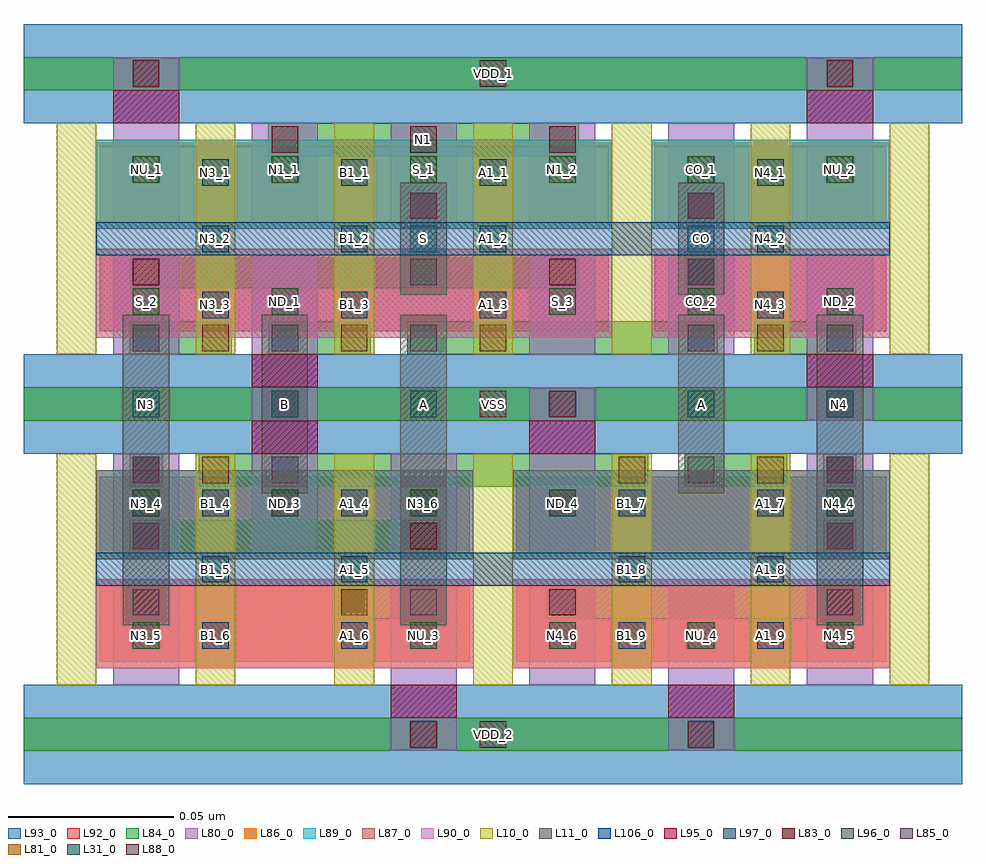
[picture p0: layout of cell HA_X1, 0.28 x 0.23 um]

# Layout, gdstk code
import gdstk
lib = gdstk.Library(unit=1e-6, precision=1e-09)
def R(c, l, rs):  # rectangles x0, y0, x1, y1
    for r in rs: c.add(gdstk.rectangle(r[:2], r[2:], *l))
def A(c, l, x, y, w, h, nx, ny, dx, dy):  # array of equal rectangles
    R(c, l, [(x+i*dx, y+j*dy, x+i*dx+w, y+j*dy+h) for i in range(nx) for j in range(ny)])
L10_0 = (10, 0)
L11_0 = (11, 0)
L31_0 = (31, 0)
L80_0 = (80, 0)
L81_0 = (81, 0)
L83_0 = (83, 0)
L84_0 = (84, 0)
L85_0 = (85, 0)
L86_0 = (86, 0)
L87_0 = (87, 0)
L88_0 = (88, 0)
L89_0 = (89, 0)
L90_0 = (90, 0)
L92_0 = (92, 0)
L93_0 = (93, 0)
L95_0 = (95, 0)
L96_0 = (96, 0)
L97_0 = (97, 0)
L106_0 = (106, 0)

ha_x1 = lib.new_cell('HA_X1')
A(ha_x1, L10_0, -0.027, -0.085, 0.012, 0.07, 7, 2, 0.042, 0.1)
A(ha_x1, L11_0, 0.203, -0.067, 0.014, 0.034, 1, 4, 0, 0.02)
A(ha_x1, L11_0, -0.007, -0.027, 0.014, 0.034, 3, 2, 0.042, 0.02)
R(ha_x1, L11_0, [(-0.007,-0.067,0.007,-0.033), (0.077,-0.067,0.091,-0.033), (-0.007,-0.047,0.007,-0.013), (0.077,-0.047,0.091,-0.013), (0.161,-0.027,0.175,0.007), (0.161,-0.007,0.175,0.027), (0.077,0.033,0.091,0.067), (0.161,0.033,0.175,0.067)])
A(ha_x1, L31_0, -0.004, -0.004, 0.008, 0.008, 3, 1, 0.042, 0)
R(ha_x1, L31_0, [(0.164,-0.004,0.172,0.004), (0.206,-0.004,0.214,0.004), (0.08,0.046,0.088,0.054), (0.164,0.046,0.172,0.054)])
A(ha_x1, L80_0, 0.074, -0.085, 0.02, 0.03, 4, 1, 0.042, 0)
A(ha_x1, L80_0, -0.01, -0.045, 0.02, 0.03, 4, 1, 0.042, 0)
A(ha_x1, L80_0, 0.032, -0.025, 0.02, 0.03, 1, 3, 0, 0.02)
A(ha_x1, L80_0, 0.116, 0.015, 0.02, 0.03, 3, 1, 0.042, 0)
A(ha_x1, L80_0, -0.01, 0.055, 0.02, 0.03, 6, 1, 0.042, 0)
R(ha_x1, L80_0, [(0.074,-0.105,0.094,-0.075), (0.158,-0.105,0.178,-0.075), (-0.01,-0.085,0.01,-0.055), (0.2,-0.045,0.22,-0.015), (0.116,-0.025,0.136,0.005), (0.2,-0.005,0.22,0.025), (-0.01,0.015,0.01,0.045), (-0.01,0.075,0.01,0.105), (0.2,0.075,0.22,0.105)])
A(ha_x1, L81_0, 0.017, 0.016, 0.008, 0.008, 3, 1, 0.042, 0)
R(ha_x1, L81_0, [(0.059,-0.064,0.067,-0.056), (0.017,-0.024,0.025,-0.016), (0.143,-0.024,0.151,-0.016), (0.185,-0.024,0.193,-0.016), (0.185,0.016,0.193,0.024)])
A(ha_x1, L83_0, -0.004, -0.064, 0.008, 0.008, 1, 3, 0, 0.02)
A(ha_x1, L83_0, 0.206, -0.064, 0.008, 0.008, 1, 3, 0, 0.02)
A(ha_x1, L83_0, 0.038, -0.004, 0.008, 0.008, 3, 1, 0.084, 0)
R(ha_x1, L83_0, [(0.08,-0.104,0.088,-0.096), (0.164,-0.104,0.172,-0.096), (0.122,-0.064,0.13,-0.056), (0.08,-0.044,0.088,-0.036), (0.038,-0.004,0.046,0.004), (-0.004,0.036,0.004,0.044), (0.122,0.036,0.13,0.044), (0.164,0.036,0.172,0.044), (0.08,0.056,0.088,0.064), (0.164,0.056,0.172,0.064), (0.038,0.076,0.046,0.084), (0.122,0.076,0.13,0.084), (-0.004,0.096,0.004,0.104), (0.206,0.096,0.214,0.104)])
A(ha_x1, L84_0, -0.037, -0.105, 0.284, 0.01, 1, 3, 0, 0.1)
A(ha_x1, L84_0, 0.121, -0.065, 0.031, 0.01, 4, 1, 0.021, 0)
A(ha_x1, L84_0, -0.005, -0.045, 0.031, 0.01, 4, 1, 0.021, 0)
A(ha_x1, L84_0, 0.016, -0.025, 0.031, 0.01, 6, 1, 0.021, 0)
A(ha_x1, L84_0, -0.005, 0.015, 0.031, 0.01, 3, 1, 0.042, 0)
A(ha_x1, L84_0, 0.1, 0.015, 0.031, 0.01, 3, 1, 0.021, 0)
A(ha_x1, L84_0, -0.005, 0.035, 0.031, 0.01, 6, 1, 0.021, 0)
A(ha_x1, L84_0, 0.037, 0.075, 0.031, 0.01, 4, 1, 0.021, 0)
R(ha_x1, L84_0, [(-0.005,-0.065,0.005,-0.055), (0.058,-0.065,0.089,-0.055), (0.205,-0.045,0.215,-0.035), (-0.005,-0.025,0.005,-0.015), (0.163,-0.025,0.194,-0.015), (0.205,-0.025,0.215,-0.015), (0.184,0.015,0.215,0.025), (0.163,0.035,0.173,0.045), (0.079,0.055,0.089,0.065), (0.163,0.055,0.173,0.065)])
A(ha_x1, L85_0, -0.004, -0.064, 0.008, 0.008, 1, 3, 0, 0.02)
A(ha_x1, L85_0, 0.206, -0.064, 0.008, 0.008, 1, 3, 0, 0.02)
A(ha_x1, L85_0, -0.004, 0.016, 0.008, 0.008, 3, 1, 0.042, 0)
A(ha_x1, L85_0, 0.164, 0.016, 0.008, 0.008, 1, 3, 0, 0.02)
R(ha_x1, L85_0, [(0.08,-0.064,0.088,-0.056), (0.038,-0.024,0.046,-0.016), (0.164,-0.024,0.172,-0.016), (0.206,0.016,0.214,0.024), (0.08,0.036,0.088,0.044), (0.08,0.056,0.088,0.064)])
R(ha_x1, L86_0, [(-0.015,-0.08,0.099,-0.053), (0.111,-0.08,0.225,-0.053), (-0.015,0.053,0.141,0.08), (0.153,0.053,0.225,0.08)])
R(ha_x1, L87_0, [(-0.015,-0.047,0.099,-0.02), (0.111,-0.047,0.225,-0.02), (-0.015,0.02,0.141,0.047), (0.153,0.02,0.225,0.047)])
A(ha_x1, L88_0, 0.101, -0.104, 0.008, 0.008, 1, 3, 0, 0.1)
R(ha_x1, L88_0, [(0.08,0.076,0.088,0.084)])
R(ha_x1, L89_0, [(-0.015,-0.047,0.099,-0.02), (0.111,-0.047,0.225,-0.02), (-0.015,0.053,0.141,0.08), (0.153,0.053,0.225,0.08)])
R(ha_x1, L90_0, [(-0.015,-0.08,0.099,-0.053), (0.111,-0.08,0.225,-0.053), (-0.015,0.02,0.141,0.047), (0.153,0.02,0.225,0.047)])
R(ha_x1, L92_0, [(-0.014,-0.078,0.098,-0.055), (0.112,-0.078,0.224,-0.055), (-0.014,-0.045,0.098,-0.022), (0.112,-0.045,0.224,-0.022), (-0.014,0.022,0.14,0.045), (0.154,0.022,0.224,0.045), (-0.014,0.055,0.14,0.078), (0.154,0.055,0.224,0.078)])
A(ha_x1, L93_0, -0.037, -0.115, 0.284, 0.03, 1, 3, 0, 0.1)
R(ha_x1, L95_0, [(0.074,-0.095,0.094,-0.085), (0.158,-0.095,0.178,-0.085), (0.032,-0.015,0.052,-0.005), (0.116,-0.015,0.136,-0.005), (0.032,0.005,0.052,0.015), (0.2,0.005,0.22,0.015), (-0.01,0.085,0.01,0.095), (0.2,0.085,0.22,0.095)])
A(ha_x1, L96_0, 0.08, -0.074, 0.008, 0.008, 4, 1, 0.042, 0)
A(ha_x1, L96_0, -0.004, -0.034, 0.008, 0.008, 4, 1, 0.042, 0)
A(ha_x1, L96_0, 0.122, 0.027, 0.008, 0.008, 3, 1, 0.042, 0)
A(ha_x1, L96_0, -0.004, 0.067, 0.008, 0.008, 6, 1, 0.042, 0)
R(ha_x1, L96_0, [(-0.004,-0.074,0.004,-0.066), (0.206,-0.034,0.214,-0.026), (-0.004,0.027,0.004,0.035), (0.038,0.027,0.046,0.035)])
A(ha_x1, L97_0, 0.017, -0.074, 0.008, 0.008, 1, 3, 0, 0.02)
A(ha_x1, L97_0, 0.059, -0.074, 0.008, 0.008, 1, 3, 0, 0.02)
A(ha_x1, L97_0, 0.143, -0.074, 0.008, 0.008, 1, 3, 0, 0.02)
A(ha_x1, L97_0, 0.185, -0.074, 0.008, 0.008, 1, 3, 0, 0.02)
A(ha_x1, L97_0, 0.017, 0.026, 0.008, 0.008, 3, 3, 0.042, 0.02)
A(ha_x1, L97_0, 0.185, 0.026, 0.008, 0.008, 1, 3, 0, 0.02)
R(ha_x1, L106_0, [(-0.015,-0.055,0.225,-0.045), (-0.015,0.045,0.225,0.055)])
ha_x1.add(gdstk.Label('N4_1', (0.189,0.07), layer=97, texttype=0))
ha_x1.add(gdstk.Label('N4_2', (0.189,0.05), layer=97, texttype=0))
ha_x1.add(gdstk.Label('N4_3', (0.189,0.03), layer=97, texttype=0))
ha_x1.add(gdstk.Label('A1_7', (0.189,-0.03), layer=97, texttype=0))
ha_x1.add(gdstk.Label('A1_8', (0.189,-0.05), layer=97, texttype=0))
ha_x1.add(gdstk.Label('A1_9', (0.189,-0.07), layer=97, texttype=0))
ha_x1.add(gdstk.Label('A1_4', (0.063,-0.03), layer=97, texttype=0))
ha_x1.add(gdstk.Label('A1_5', (0.063,-0.05), layer=97, texttype=0))
ha_x1.add(gdstk.Label('A1_6', (0.063,-0.07), layer=97, texttype=0))
ha_x1.add(gdstk.Label('A1_2', (0.105,0.05), layer=97, texttype=0))
ha_x1.add(gdstk.Label('A1_1', (0.105,0.07), layer=97, texttype=0))
ha_x1.add(gdstk.Label('A1_3', (0.105,0.03), layer=97, texttype=0))
ha_x1.add(gdstk.Label('B1_9', (0.147,-0.07), layer=97, texttype=0))
ha_x1.add(gdstk.Label('B1_7', (0.147,-0.03), layer=97, texttype=0))
ha_x1.add(gdstk.Label('B1_8', (0.147,-0.05), layer=97, texttype=0))
ha_x1.add(gdstk.Label('B1_4', (0.021,-0.03), layer=97, texttype=0))
ha_x1.add(gdstk.Label('B1_5', (0.021,-0.05), layer=97, texttype=0))
ha_x1.add(gdstk.Label('B1_6', (0.021,-0.07), layer=97, texttype=0))
ha_x1.add(gdstk.Label('B1_2', (0.063,0.05), layer=97, texttype=0))
ha_x1.add(gdstk.Label('B1_1', (0.063,0.07), layer=97, texttype=0))
ha_x1.add(gdstk.Label('B1_3', (0.063,0.03), layer=97, texttype=0))
ha_x1.add(gdstk.Label('N3_2', (0.021,0.05), layer=97, texttype=0))
ha_x1.add(gdstk.Label('N3_1', (0.021,0.07), layer=97, texttype=0))
ha_x1.add(gdstk.Label('N3_3', (0.021,0.03), layer=97, texttype=0))
ha_x1.add(gdstk.Label('S_3', (0.126,0.031), layer=96, texttype=0))
ha_x1.add(gdstk.Label('N4_5', (0.21,-0.07), layer=96, texttype=0))
ha_x1.add(gdstk.Label('N4_4', (0.21,-0.03), layer=96, texttype=0))
ha_x1.add(gdstk.Label('ND_4', (0.126,-0.03), layer=96, texttype=0))
ha_x1.add(gdstk.Label('N4_6', (0.126,-0.07), layer=96, texttype=0))
ha_x1.add(gdstk.Label('N3_6', (0.084,-0.03), layer=96, texttype=0))
ha_x1.add(gdstk.Label('NU_3', (0.084,-0.07), layer=96, texttype=0))
ha_x1.add(gdstk.Label('NU_4', (0.168,-0.07), layer=96, texttype=0))
ha_x1.add(gdstk.Label('ND_3', (0.042,-0.03), layer=96, texttype=0))
ha_x1.add(gdstk.Label('N3_5', (0,-0.07), layer=96, texttype=0))
ha_x1.add(gdstk.Label('N3_4', (0,-0.03), layer=96, texttype=0))
ha_x1.add(gdstk.Label('ND_2', (0.21,0.031), layer=96, texttype=0))
ha_x1.add(gdstk.Label('NU_2', (0.21,0.071), layer=96, texttype=0))
ha_x1.add(gdstk.Label('CO_2', (0.168,0.031), layer=96, texttype=0))
ha_x1.add(gdstk.Label('CO_1', (0.168,0.071), layer=96, texttype=0))
ha_x1.add(gdstk.Label('S_1', (0.084,0.071), layer=96, texttype=0))
ha_x1.add(gdstk.Label('N1_2', (0.126,0.071), layer=96, texttype=0))
ha_x1.add(gdstk.Label('N1_1', (0.042,0.071), layer=96, texttype=0))
ha_x1.add(gdstk.Label('ND_1', (0.042,0.031), layer=96, texttype=0))
ha_x1.add(gdstk.Label('S_2', (0,0.031), layer=96, texttype=0))
ha_x1.add(gdstk.Label('NU_1', (0,0.071), layer=96, texttype=0))
ha_x1.add(gdstk.Label('N1', (0.084,0.08), layer=88, texttype=0))
ha_x1.add(gdstk.Label('VSS', (0.105,0), layer=88, texttype=0))
ha_x1.add(gdstk.Label('VDD_2', (0.105,-0.1), layer=88, texttype=0))
ha_x1.add(gdstk.Label('VDD_1', (0.105,0.1), layer=88, texttype=0))
ha_x1.add(gdstk.Label('N4', (0.21,0), layer=31, texttype=0))
ha_x1.add(gdstk.Label('A', (0.168,0), layer=31, texttype=0))
ha_x1.add(gdstk.Label('B', (0.042,0), layer=31, texttype=0))
ha_x1.add(gdstk.Label('A', (0.084,0), layer=31, texttype=0))
ha_x1.add(gdstk.Label('N3', (0,0), layer=31, texttype=0))
ha_x1.add(gdstk.Label('CO', (0.168,0.05), layer=31, texttype=0))
ha_x1.add(gdstk.Label('S', (0.084,0.05), layer=31, texttype=0))

lib.write_gds('HA_X1.gds')
